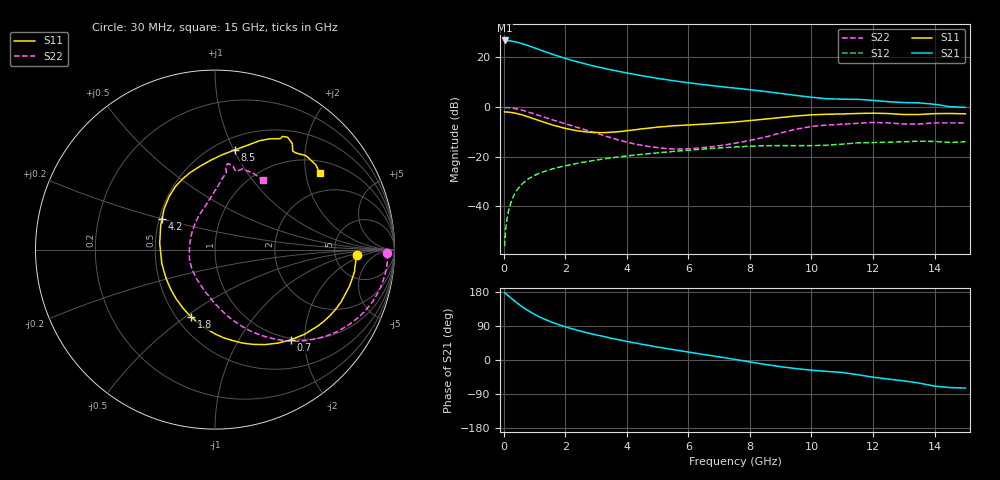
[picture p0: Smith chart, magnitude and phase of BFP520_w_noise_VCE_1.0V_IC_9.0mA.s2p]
! Infineon Technologies  Discrete & RF Semiconductors
! BFP520
! VCE =  1.0 V,  IC =  9.0 mA
! Common Emitter S-Parameters:  Oct 2015
# GHz  S  MA  R  50
!  f  S11  S21  S12  S22
! GHz  MAG  ANG  MAG  ANG  MAG  ANG  MAG  ANG
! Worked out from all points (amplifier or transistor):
!   109 points, 30 MHz to 15 GHz, reference 50 ohm
!   highest |S21| = 26.6 dB at 30 MHz (marker M1)
!   |S21| within 3 dB of that: start of sweep to 1.007 GHz
!   unconditionally stable (mu >= 1): 3.398 GHz to end of sweep
!   at 450 MHz: K = 0.21, MSG = 29.5 dB, |S12| = -33.1 dB
!   at 4 GHz: K = 1.07, MAG = 15.0 dB, |S12| = -19.7 dB
!   at 15 GHz: K = 1.32, MAG = 3.5 dB, |S12| = -14.1 dB
!   lowest NFmin = 1.47 dB at 900 MHz
!   S11 on the Smith chart (normalised r, x): 30 MHz: 8.28, -1.27; 700 MHz: 0.97, -1.71; 1.8 GHz: 0.59, -0.52; 4.2 GHz: 0.52, +0.20; 8.5 GHz: 0.62, +1.01; 15 GHz: 1.36, +2.40
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0.03  0.789 -2.1  21.39 177.8  0.0016 93.5  0.9581 -1.2
0.05  0.7879 -3.7  21.25 175.9  0.0027 88.9  0.9606 -2.2
0.07  0.787 -5.3  21.38 174.7  0.0037 88.0  0.9619 -3.3
0.2  0.7765 -15.2  21 166.0  0.0102 82.8  0.9529 -10.3
0.35  0.7503 -26.3  20.24 156.0  0.0176 77.3  0.9251 -18.1
0.5  0.7134 -36.7  19.2 146.7  0.0242 72.5  0.8844 -25.2
0.6  0.6857 -43.6  18.45 140.7  0.0283 69.6  0.8528 -29.7
0.7  0.656 -50.1  17.62 135.1  0.0322 66.8  0.8193 -34.0
0.9  0.5978 -62.3  15.99 125.2  0.0389 62.1  0.7511 -41.5
1.2  0.5159 -79.1  13.71 112.4  0.0474 56.7  0.6542 -51.1
1.5  0.449 -94.9  11.79 101.8  0.0547 52.6  0.5699 -59.1
1.8  0.3976 -109.7  10.22 93.0  0.0613 49.4  0.498 -66.1
2.2  0.3479 -129.0  8.602 82.8  0.0695 45.9  0.419 -74.3
2.6  0.3179 -147.8  7.372 74.1  0.0774 42.6  0.3524 -82.3
3.5  0.31 173.5  5.494 57.3  0.0947 35.3  0.238 -103.9
4.2  0.3415 149.8  4.527 46.1  0.1065 29.4  0.1823 -127.6
5.1  0.3954 128.8  3.64 32.8  0.1205 22.3  0.1495 -162.7
7.6  0.5015 91.9  2.339 0.5  0.157 1.3  0.1896 123.9
8.5  0.5665 78.7  2.024 -11.7  0.1655 -7.6  0.247 103.0
10.5  0.7093 60.6  1.449 -30.0  0.1692 -20.3  0.4306 81.7
13  0.6997 51.8  1.215 -55.0  0.1989 -40.3  0.4508 75.1
15  0.7217 36.0  0.973 -74.1  0.1977 -56.1  0.4707 55.7
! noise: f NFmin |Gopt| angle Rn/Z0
0.45  1.49  0.33  1  0.29
0.9  1.47  0.29  6  0.31
1.9  1.67  0.27  15  0.26
2.4  1.67  0.23  26  0.27
3.5  1.61  0.21  49  0.26
